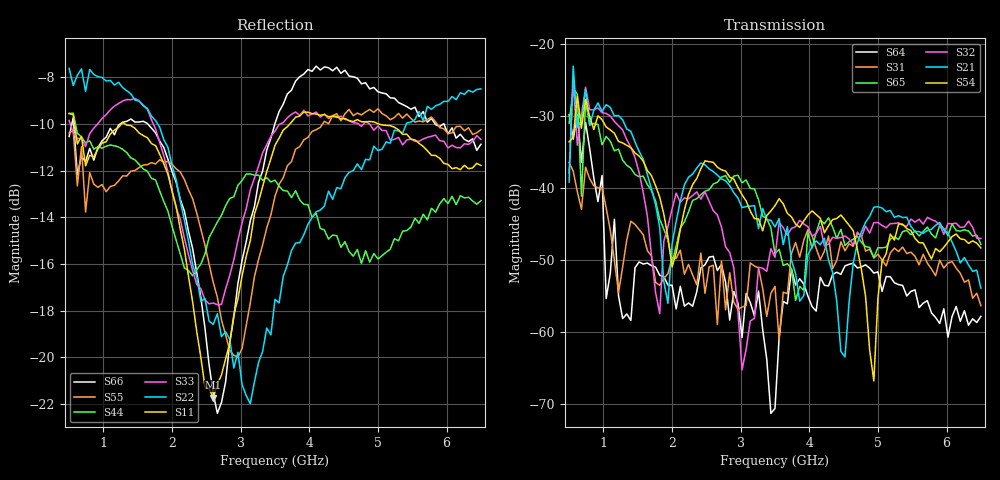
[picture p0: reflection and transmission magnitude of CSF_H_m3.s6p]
!Keysight Technologies,M9804A,MY58100912,A.14.10.03
!Date: Thursday, April 27, 2023 10:28:33
!Correction: S11(C  6-Port  )
!S12(C  6-Port  )
!S13(C  6-Port  )
!S14(C  6-Port  )
!S15(C  6-Port  )
!S16(C  6-Port  )
!S21(C  6-Port  )
!S22(C  6-Port  )
!S23(C  6-Port  )
!S24(C  6-Port  )
!S25(C  6-Port  )
!S26(C  6-Port  )
!S31(C  6-Port  )
!S32(C  6-Port  )
!S33(C  6-Port  )
!S34(C  6-Port  )
!S35(C  6-Port  )
!S36(C  6-Port  )
!S41(C  6-Port  )
!S42(C  6-Port  )
!S43(C  6-Port  )
!S44(C  6-Port  )
!S45(C  6-Port  )
!S46(C  6-Port  )
!S51(C  6-Port  )
!S52(C  6-Port  )
!S53(C  6-Port  )
!S54(C  6-Port  )
!S55(C  6-Port  )
!S56(C  6-Port  )
!S61(C  6-Port  )
!S62(C  6-Port  )
!S63(C  6-Port  )
!S64(C  6-Port  )
!S65(C  6-Port  )
!S66(C  6-Port  )
!S6P File: Measurement: :
# Hz S  RI  R 50
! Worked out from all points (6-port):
!   101 points, 500 MHz to 6.5 GHz, reference 50 ohm
!   strongest paths, dB at 500 MHz, 2 GHz, 3.5 GHz, 5 GHz, 6.5 GHz:
!     S54: -33.6, -51.0, -42.5, -55.3, -48.3
!     S21: -39.2, -47.8, -45.4, -42.6, -53.9
!     S32: -37.9, -42.9, -49.6, -44.8, -47.0
!     S65: -31.0, -50.5, -49.1, -48.3, -47.8
!     S31: -36.5, -49.7, -53.7, -49.2, -56.4
!     S64: -29.8, -53.5, -70.6, -51.7, -57.8
!   lowest |S11| = -21.7 dB at 2.6 GHz (marker M1), VSWR 1.18, Z = 42.7 + j1.98 ohm
!   |S11| at or under -10 dB: 579.1 MHz to 1.262 GHz (682.9 MHz wide, 74.2 % of centre); 1.315 GHz to 3.715 GHz (2.399 GHz wide, 95.4 % of centre); 5.015 GHz to end of sweep
